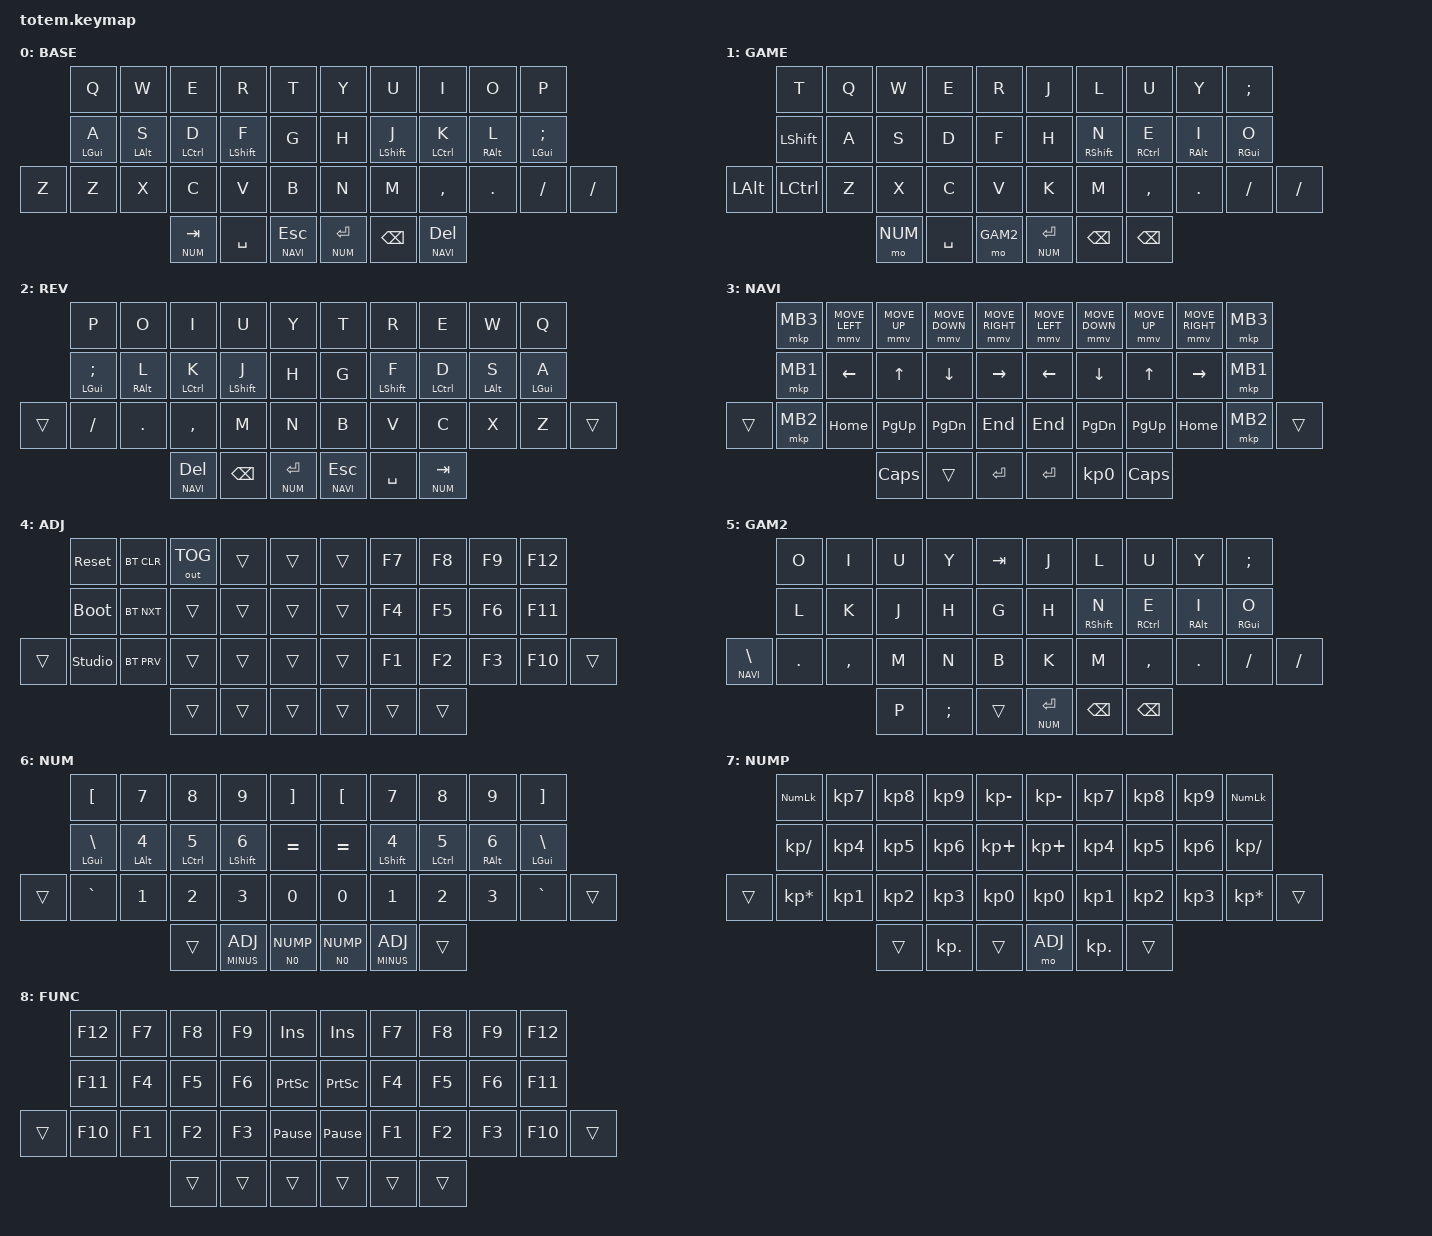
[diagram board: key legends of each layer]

#define ZMK_POINTING_DEFAULT_MOVE_VAL 2400  // default: 600
#define ZMK_POINTING_DEFAULT_SCRL_VAL 20    // default: 10       

#include <behaviors.dtsi>
#include <dt-bindings/zmk/keys.h>
#include <dt-bindings/zmk/bt.h>
#include <dt-bindings/zmk/outputs.h>
#include <dt-bindings/zmk/pointing.h>
//#include <dt-bindings/zmk/behaviors.h>


#define BASE 0
#define GAME 1
#define REV  2
#define NAVI 3
#define ADJ  4
#define GAM2 5
#define NUM  6
#define NUMP 7
#define FUNC 8

&mt {
  quick-tap-ms = <140>;
  global-quick-tap;
  flavor = "tap-preferred";
  tapping-term-ms = <170>;
};

/ {
    combos {
            compatible = "zmk,combos";
            //combo_esc {
            //    timeout-ms = <50>;
            //    key-positions = <0 1>;
            //    bindings = <&kp ESC>;
            //};
            combo_rshft {
                key-positions = <16 27>;
                bindings = <&sk RSHFT>;
                timeout-ms = <50>;
                layers = <0 2 3 4 6 7>;
            };
            combo_rctrl {
                key-positions = <17 28>;
                bindings = <&sk RCTRL>;
                timeout-ms = <50>;
                layers = <0 2 3 4 6 7>;
            };
            combo_ralt {
                key-positions = <18 29>;
                bindings = <&sk RALT>;
                timeout-ms = <50>;
                layers = <0 2 3 4 6 7>;
            };
            combo_rgui {
                key-positions = <19 30>;
                bindings = <&sk RGUI>;
                timeout-ms = <50>;
                layers = <0 2 3 4 6 7>;
            };
            combo_lshft {
                key-positions = <13 24>;
                bindings = <&sk LSHFT>;
                timeout-ms = <10>;
                layers = <0 2 3 4 6 7>;
            };
            combo_lctrl {
                key-positions = <12 23>;
                bindings = <&sk LCTRL>;
                timeout-ms = <10>;
                layers = <0 2 3 4 6 7>;
            };
            combo_lalt {
                key-positions = <11 22>;
                bindings = <&sk LALT>;
                timeout-ms = <10>;
                layers = <0 2 3 4 6 7>;
            };
            combo_lgui {
                key-positions = <10 21>;
                bindings = <&sk LGUI>;
                timeout-ms = <10>;
                layers = <0 2 3 4 6 7>;
            };
//            combo_ldqt {
//                key-positions = <11 12>;
//                bindings = <&kp DQT>;
//                timeout-ms = <25>;
//                layers = <0 4 6 7>;
//            };
//            combo_rapos {
//                key-positions = <17 18>;
//                bindings = <&kp APOS>;
//                timeout-ms = <25>;
//                layers = <0 4 6 7>;
//            };
//            combo_rdqt {
//                key-positions = <17 18>;
//                bindings = <&kp DQT>;
//		timeout-ms = <25>;
//                layers = <2>;
//            };
//            combo_lapos {
//                key-positions = <11 12>;
//                bindings = <&kp APOS>;
//                timeout-ms = <25>;
//                layers = <2>;
//            };
//            combo_lunder {
//                key-positions = <12 13>;
//                bindings = <&kp UNDER>;
//                timeout-ms = <25>;
//                layers = <0 4 6 7>;
//            };
//            combo_rminus {
//                key-positions = <16 17>;
//                bindings = <&kp MINUS>;
//                timeout-ms = <25>;
//                layers = <0 4 6 7>;
//            };
//            combo_runder {
//                key-positions = <16 17>;
//                bindings = <&kp UNDER>;
//		timeout-ms = <25>;
//                layers = <2>;
//            };
//            combo_lminus {
//                key-positions = <12 13>;
//                bindings = <&kp MINUS>;
//                timeout-ms = <25>;
//                layers = <2>;
//            };
            combo_lrbrc {
                key-positions = <1 2>;
                bindings = <&kp RBRC>;
                timeout-ms = <25>;
                layers = <2>;
            };
            combo_llbrc {
                key-positions = <1 2>;
                bindings = <&kp LBRC>;
                timeout-ms = <25>;
                layers = <0 4 6 7>;
            };
            combo_rlbrc {
                key-positions = <7 8>;
                bindings = <&kp LBRC>;
                timeout-ms = <25>;
                layers = <2>;
            };
            combo_rrbrc {
                key-positions = <7 8>;
                bindings = <&kp RBRC>;
                timeout-ms = <25>;
                layers = <0 4 6 7>;
            };
            combo_lrbkt {
                key-positions = <0 1>;
                bindings = <&kp RBKT>;
                timeout-ms = <25>;
                layers = <2>;
            };
            combo_llbkt {
                key-positions = <0 1>;
                bindings = <&kp LBKT>;
                timeout-ms = <25>;
                layers = <0 4 6 7>;
            };
            combo_rlbkt {
                key-positions = <8 9>;
                bindings = <&kp LBKT>;
                timeout-ms = <25>;
                layers = <2>;
            };
            combo_rrbkt {
                key-positions = <8 9>;
                bindings = <&kp RBKT>;
                timeout-ms = <25>;
                layers = <0 4 6 7>;
            };
            combo_lrpar {
                key-positions = <2 3>;
                bindings = <&kp RPAR>;
                timeout-ms = <25>;
                layers = <2>;
            };
            combo_llpar {
                key-positions = <2 3>;
                bindings = <&kp LPAR>;
                timeout-ms = <25>;
                layers = <0 4 6 7>;
            };
            combo_rlpar {
                key-positions = <6 7>;
                bindings = <&kp LPAR>;
                timeout-ms = <25>;
                layers = <2>;
            };
            combo_rrpar {
                key-positions = <6 7>;
                bindings = <&kp RPAR>;
                timeout-ms = <25>;
                layers = <0 4 6 7>;
            };
            combo_gam2esc {
                key-positions = <11 12 13>;
                bindings = <&kp ESC>;
                timeout-ms = <50>;
                layers = <5>;
            };
            combo_caps {
                key-positions = <22 23 24>;
                bindings = <&kp CAPS>;
                timeout-ms = <50>;
                layers = <0 4 6 7>;
            };
            combo_apos {
                key-positions = <27 28 29>;
                bindings = <&kp APOS>;
                timeout-ms = <50>;
                layers = <0 4 6 7>;
            };
            combo_capsrev {
                key-positions = <27 28 29>;
                bindings = <&kp CAPS>;
                timeout-ms = <50>;
                layers = <2>;
            };
            combo_aposrev {
                key-positions = <22 23 24>;
                bindings = <&kp APOS>;
                timeout-ms = <50>;
                layers = <2>;
            };
            combo_lscrldn {
                key-positions = <22 23 24>;
                bindings = <&msc SCRL_DOWN>;
                timeout-ms = <50>;
                layers = <3>;
            };
            combo_rscrldn {
                key-positions = <27 28 29>;
                bindings = <&msc SCRL_DOWN>;
                timeout-ms = <50>;
                layers = <3>;
            };
            combo_lscrlup {
                key-positions = <23 24 25>;
                bindings = <&msc SCRL_UP>;
                timeout-ms = <50>;
                layers = <3>;
            };
            combo_rscrlup {
                key-positions = <26 27 28>;
                bindings = <&msc SCRL_UP>;
                timeout-ms = <50>;
                layers = <3>;
            };
            combo_lfunclayer {
                key-positions = <32 33>;
                bindings = <&sl 8>;
                timeout-ms = <50>;
                layers = <0 2 3 4 6 7>;
            };
            combo_rfunclayer {
                key-positions = <36 37>;
                bindings = <&sl 8>;
                timeout-ms = <50>;
                layers = <0 2 3 4 6 7>;
            };
            combo_lrevlayer {
                key-positions = <33 34>;
                bindings = <&sl 2>;
                timeout-ms = <50>;
                layers = <0 3 4 6 7>;
            };
            combo_rrevlayer {
                key-positions = <35 36>;
                bindings = <&sl 2>;
                timeout-ms = <50>;
                layers = <0 3 4 6 7>;
            };
	    combo_gamealt {
		key-positions = <33 34>;
		bindings = <&kp LALT>;
		timeout-ms = <50>;
		layers = <1 5>;
	    };
    };

    macros {
        gif: gif {
            label = "giphy";
            compatible = "zmk,behavior-macro";
            #binding-cells = <0>;
            bindings
                = <&macro_press &kp LSHFT>
                , <&macro_tap &kp N2>
                , <&macro_release &kp LSHFT>
                , <&macro_tap &kp G &kp I &kp F>
                ;
        };
    };

        keymap {
                compatible = "zmk,keymap";
// ▄▄▄▄▄▄▄▄▄▄▄▄▄▄▄▄▄▄▄▄▄▄▄▄▄▄▄▄▄▄▄▄▄▄▄▄▄▄▄▄▄▄▄▄▄▄▄▄▄▄▄▄▄▄▄▄▄▄▄▄▄▄▄▄▄▄▄▄▄▄▄▄▄▄▄▄▄▄▄▄▄▄▄▄▄▄▄▄▄▄▄▄▄▄▄▄▄▄▄▄▄▄▄▄▄▄▄▄▄▄▄▄▄▄▄▄▄▄▄▄▄▄▄▄▄▄▄▄▄▄▄▄▄▄▄▄▄▄▄▄▄▄▄▄▄▄▄▄▄

                base_layer {
// ┏━━━━━━━━━━━━━━━━━━━━━━━━━━━━━━━━━━━━━━━┓
label= "BASE"                              ;
// ┗━━━━━━━━━━━━━━━━━━━━━━━━━━━━━━━━━━━━━━━┛
//             ┏━━━━━━━━━━━┳━━━━━━━━━━━┳━━━━━━━━━━━┳━━━━━━━━━━━┳━━━━━━━━━━━┓   ┏━━━━━━━━━━━┳━━━━━━━━━━━┳━━━━━━━━━━━┳━━━━━━━━━━━┳━━━━━━━━━━━┓
//             ┃     Q     ┃     W     ┃     F     ┃     P     ┃     G     ┃   ┃     J     ┃     L     ┃     U     ┃     Y     ┃     ;     ┃
//             ┣━━━━━━━━━━━╋━━━━━━━━━━━╋━━━━━━━━━━━╋━━━━━━━━━━━╋━━━━━━━━━━━┫   ┣━━━━━━━━━━━╋━━━━━━━━━━━╋━━━━━━━━━━━╋━━━━━━━━━━━╋━━━━━━━━━━━┫
//             ┃     A     ┃     R     ┃     S     ┃     T     ┃     D     ┃   ┃     H     ┃     N     ┃     E     ┃     I     ┃     O     ┃
// ┏━━━━━━━━━━━╋━━━━━━━━━━━╋━━━━━━━━━━━╋━━━━━━━━━━━╋━━━━━━━━━━━╋━━━━━━━━━━━┫   ┣━━━━━━━━━━━╋━━━━━━━━━━━╋━━━━━━━━━━━╋━━━━━━━━━━━╋━━━━━━━━━━━╋━━━━━━━━━━━┓
// ┃           ┃     Z     ┃     X     ┃     C     ┃     V     ┃     B     ┃   ┃     K     ┃     M     ┃     ,     ┃     .     ┃     /     ┃           ┃
// ┗━━━━━━━━━━━┻━━━━━━━━━━━┻━━━━━━━━━━━╋━━━━━━━━━━━╋━━━━━━━━━━━╋━━━━━━━━━━━┫   ┣━━━━━━━━━━━╋━━━━━━━━━━━╋━━━━━━━━━━━╋━━━━━━━━━━━┻━━━━━━━━━━━┻━━━━━━━━━━━┛
//                                     ┃           ┃    TAB    ┃    SPC    ┃   ┃   ENTER   ┃   BSPC    ┃           ┃
//                                     ┗━━━━━━━━━━━┻━━━━━━━━━━━┻━━━━━━━━━━━┛   ┗━━━━━━━━━━━┻━━━━━━━━━━━┻━━━━━━━━━━━┛
 bindings = <
// ╷           ╷           ╷           ╷           ╷           ╷           ╷   ╷           ╷           ╷           ╷           ╷           ╷           ╷

//                &kp Q       &kp W       &kp F       &kp P       &kp G           &kp J       &kp L       &kp U       &kp Y       &kp SEMI
//                &mt LGUI A  &mt LALT R  &mt LCTRL S &mt LSHFT T &kp D           &kp H       &mt RSHFT N &mt RCTRL E &mt RALT I  &mt RGUI O
//                &kp A  	    &kp R  	&kp S       &kp T       &kp D          	&kp H       &kp N 	&kp E 	    &kp I  	&kp O
//    &kp Z       &kp Z       &kp X       &kp C       &kp V       &kp B           &kp K       &kp M       &kp COMMA   &kp DOT     &kp FSLH    &kp FSLH
                &kp Q       &kp W       &kp E       &kp R       &kp T           &kp Y       &kp U       &kp I       &kp O       &kp P
//                &kp A  	    &kp S  	&kp D       &kp F       &kp G          	&kp H       &kp J 	&kp K 	    &kp L  	&kp SEMI
                &mt LGUI A    &mt LALT S &mt LCTRL D  &mt LSHFT F       &kp G   &kp H       &mt LSHFT J &mt LCTRL K &mt RALT L  &mt LGUI SEMI
    &kp Z       &kp Z       &kp X       &kp C       &kp V       &kp B           &kp N       &kp M       &kp COMMA   &kp DOT     &kp FSLH    &kp FSLH
                                        &lt NUM TAB &kp SPACE   &lt NAVI ESC    &lt NUM RET &kp BSPC    &lt NAVI DEL
                        >;
                };

// ▄▄▄▄▄▄▄▄▄▄▄▄▄▄▄▄▄▄▄▄▄▄▄▄▄▄▄▄▄▄▄▄▄▄▄▄▄▄▄▄▄▄▄▄▄▄▄▄▄▄▄▄▄▄▄▄▄▄▄▄▄▄▄▄▄▄▄▄▄▄▄▄▄▄▄▄▄▄▄▄▄▄▄▄▄▄▄▄▄▄▄▄▄▄▄▄▄▄▄▄▄▄▄▄▄▄▄▄▄▄▄▄▄▄▄▄▄▄▄▄▄▄▄▄▄▄▄▄▄▄▄▄▄▄▄▄▄▄▄▄▄▄▄▄▄▄▄▄▄

                game_layer {


// ┏━━━━━━━━━━━━━━━━━━━━━━━━━━━━━━━━━━━━━━━┓
label= "GAME"                              ;
// ┗━━━━━━━━━━━━━━━━━━━━━━━━━━━━━━━━━━━━━━━┛
//             ┏━━━━━━━━━━━┳━━━━━━━━━━━┳━━━━━━━━━━━┳━━━━━━━━━━━┳━━━━━━━━━━━┓   ┏━━━━━━━━━━━┳━━━━━━━━━━━┳━━━━━━━━━━━┳━━━━━━━━━━━┳━━━━━━━━━━━┓
//             ┃    TAB    ┃     q     ┃     w     ┃     e     ┃     r     ┃   ┃     t     ┃     y     ┃     u     ┃     i     ┃     o     ┃
//             ┣━━━━━━━━━━━╋━━━━━━━━━━━╋━━━━━━━━━━━╋━━━━━━━━━━━╋━━━━━━━━━━━┫   ┣━━━━━━━━━━━╋━━━━━━━━━━━╋━━━━━━━━━━━╋━━━━━━━━━━━╋━━━━━━━━━━━┫
//             ┃   LCTRL   ┃     a     ┃     S     ┃     d     ┃     f     ┃   ┃     g     ┃     h     ┃     n     ┃     k     ┃     l     ┃
// ┏━━━━━━━━━━━╋━━━━━━━━━━━╋━━━━━━━━━━━╋━━━━━━━━━━━╋━━━━━━━━━━━╋━━━━━━━━━━━┫   ┣━━━━━━━━━━━╋━━━━━━━━━━━╋━━━━━━━━━━━╋━━━━━━━━━━━╋━━━━━━━━━━━╋━━━━━━━━━━━┓
// ┃    ALT    ┃   SHIFT   ┃     z     ┃     x     ┃     c     ┃     v     ┃   ┃     b     ┃     n     ┃     m     ┃     ,     ┃     .     ┃      /    ┃
// ┗━━━━━━━━━━━┻━━━━━━━━━━━┻━━━━━━━━━━━╋━━━━━━━━━━━╋━━━━━━━━━━━╋━━━━━━━━━━━┫   ┣━━━━━━━━━━━╋━━━━━━━━━━━╋━━━━━━━━━━━╋━━━━━━━━━━━┻━━━━━━━━━━━┻━━━━━━━━━━━┛
//                                     ┃           ┃    SPC    ┃    SPC    ┃   ┃   ENTER   ┃   BSPC    ┃   ENTER   ┃
//                                     ┗━━━━━━━━━━━┻━━━━━━━━━━━┻━━━━━━━━━━━┛   ┗━━━━━━━━━━━┻━━━━━━━━━━━┻━━━━━━━━━━━┛
 bindings = <
// ╷           ╷           ╷           ╷           ╷           ╷           ╷   ╷           ╷           ╷           ╷           ╷           ╷           ╷

                &kp T     &kp Q       &kp W       &kp E       &kp R           &kp J       &kp L       &kp U       &kp Y       &kp SEMI
                &kp LSHFT &kp A       &kp S       &kp D       &kp F           &kp H       &mt RSHFT N &mt RCTRL E &mt RALT I  &mt RGUI O
    &kp LALT    &kp LCTRL &kp Z       &kp X       &kp C       &kp V           &kp K       &kp M       &kp COMMA   &kp DOT     &kp FSLH    &kp FSLH
                                        &mo NUM     &kp SPACE   &mo GAM2        &lt NUM RET &kp BSPC    &kp BSPC
                        >;
                };


// ▄▄▄▄▄▄▄▄▄▄▄▄▄▄▄▄▄▄▄▄▄▄▄▄▄▄▄▄▄▄▄▄▄▄▄▄▄▄▄▄▄▄▄▄▄▄▄▄▄▄▄▄▄▄▄▄▄▄▄▄▄▄▄▄▄▄▄▄▄▄▄▄▄▄▄▄▄▄▄▄▄▄▄▄▄▄▄▄▄▄▄▄▄▄▄▄▄▄▄▄▄▄▄▄▄▄▄▄▄▄▄▄▄▄▄▄▄▄▄▄▄▄▄▄▄▄▄▄▄▄▄▄▄▄▄▄▄▄▄▄▄▄▄▄▄▄▄▄▄

                reverse_layer {
// ┏━━━━━━━━━━━━━━━━━━━━━━━━━━━━━━━━━━━━━━━┓
label= "REV"                               ;
// ┗━━━━━━━━━━━━━━━━━━━━━━━━━━━━━━━━━━━━━━━┛
//             ┏━━━━━━━━━━━┳━━━━━━━━━━━┳━━━━━━━━━━━┳━━━━━━━━━━━┳━━━━━━━━━━━┓   ┏━━━━━━━━━━━┳━━━━━━━━━━━┳━━━━━━━━━━━┳━━━━━━━━━━━┳━━━━━━━━━━━┓
//             ┃    p      ┃     o     ┃     i      ┃     u    ┃      y        ┃     t     ┃     r     ┃     e     ┃     w     ┃     q     ┃
//             ┣━━━━━━━━━━━╋━━━━━━━━━━━╋━━━━━━━━━━━╋━━━━━━━━━━━╋━━━━━━━━━━━┫   ┣━━━━━━━━━━━╋━━━━━━━━━━━╋━━━━━━━━━━━╋━━━━━━━━━━━╋━━━━━━━━━━━┫
//             ┃   ;       ┃     l     ┃     k     ┃     j     ┃     h     ┃   ┃     g     ┃     f     ┃     d     ┃     s     ┃     a     ┃
// ┏━━━━━━━━━━━╋━━━━━━━━━━━╋━━━━━━━━━━━╋━━━━━━━━━━━╋━━━━━━━━━━━╋━━━━━━━━━━━┫   ┣━━━━━━━━━━━╋━━━━━━━━━━━╋━━━━━━━━━━━╋━━━━━━━━━━━╋━━━━━━━━━━━╋━━━━━━━━━━━┓
// ┃    ALT    ┃   /       ┃     .     ┃     ,     ┃     m     ┃     n     ┃   ┃     b     ┃     v     ┃     c     ┃     x     ┃     z     ┃      /    ┃
// ┗━━━━━━━━━━━┻━━━━━━━━━━━┻━━━━━━━━━━━╋━━━━━━━━━━━╋━━━━━━━━━━━╋━━━━━━━━━━━┫   ┣━━━━━━━━━━━╋━━━━━━━━━━━╋━━━━━━━━━━━╋━━━━━━━━━━━┻━━━━━━━━━━━┻━━━━━━━━━━━┛
//                                     ┃           ┃    SPC    ┃    SPC    ┃   ┃   ENTER   ┃   BSPC    ┃   ENTER   ┃
//                                     ┗━━━━━━━━━━━┻━━━━━━━━━━━┻━━━━━━━━━━━┛   ┗━━━━━━━━━━━┻━━━━━━━━━━━┻━━━━━━━━━━━┛
 bindings = <
// ╷           ╷           ╷           ╷           ╷           ╷           ╷   ╷           ╷           ╷           ╷           ╷           ╷           ╷

                &kp P    &kp O      &kp I    &kp U    &kp Y                     &kp T   &kp R    &kp E   &kp W     &kp Q
//                &kp SEMI &kp L      &kp K    &kp J    &kp H                  &kp G   &kp F    &kp D   &kp S     &kp A
                &mt LGUI SEMI &mt RALT L      &mt LCTRL K  &mt LSHFT J  &kp H   &kp G   &mt LSHFT F  &mt LCTRL D  &mt LALT S  &mt LGUI A
    &trans      &kp FSLH &kp DOT    &kp COMMA      &kp M      &kp N          &kp B &kp V &kp C &kp X  &kp Z   &trans         
                        &lt NAVI DEL      &kp BSPC      &lt NUM RET         &lt NAVI ESC      &kp SPACE    &lt NUM TAB      
                        >;
                };


// ▄▄▄▄▄▄▄▄▄▄▄▄▄▄▄▄▄▄▄▄▄▄▄▄▄▄▄▄▄▄▄▄▄▄▄▄▄▄▄▄▄▄▄▄▄▄▄▄▄▄▄▄▄▄▄▄▄▄▄▄▄▄▄▄▄▄▄▄▄▄▄▄▄▄▄▄▄▄▄▄▄▄▄▄▄▄▄▄▄▄▄▄▄▄▄▄▄▄▄▄▄▄▄▄▄▄▄▄▄▄▄▄▄▄▄▄▄▄▄▄▄▄▄▄▄▄▄▄▄▄▄▄▄▄▄▄▄▄▄▄▄▄▄▄▄▄▄▄▄


                nav_layer {
// ┏━━━━━━━━━━━━━━━━━━━━━━━━━━━━━━━━━━━━━━━┓
label= "NAVI"                              ;
// ┗━━━━━━━━━━━━━━━━━━━━━━━━━━━━━━━━━━━━━━━┛
//             ┏━━━━━━━━━━━┳━━━━━━━━━━━┳━━━━━━━━━━━┳━━━━━━━━━━━┳━━━━━━━━━━━┓   ┏━━━━━━━━━━━┳━━━━━━━━━━━┳━━━━━━━━━━━┳━━━━━━━━━━━┳━━━━━━━━━━━┓
//             ┃           ┃           ┃     UP    ┃           ┃     {     ┃   ┃     }     ┃     7     ┃     8     ┃     9     ┃     +     ┃
//             ┣━━━━━━━━━━━╋━━━━━━━━━━━╋━━━━━━━━━━━╋━━━━━━━━━━━╋━━━━━━━━━━━┫   ┣━━━━━━━━━━━╋━━━━━━━━━━━╋━━━━━━━━━━━╋━━━━━━━━━━━╋━━━━━━━━━━━┫
//             ┃   SHIFT   ┃   LEFT    ┃    DOWN   ┃   RIGHT   ┃     [     ┃   ┃     ]     ┃     4     ┃     5     ┃     6     ┃     -     ┃
// ┏━━━━━━━━━━━╋━━━━━━━━━━━╋━━━━━━━━━━━╋━━━━━━━━━━━╋━━━━━━━━━━━╋━━━━━━━━━━━┫   ┣━━━━━━━━━━━╋━━━━━━━━━━━╋━━━━━━━━━━━╋━━━━━━━━━━━╋━━━━━━━━━━━╋━━━━━━━━━━━┓
// ┃           ┃           ┃   P UP    ┃  C LOCK   ┃  P DOWN   ┃     (     ┃   ┃     )     ┃     1     ┃     2     ┃     3     ┃     *     ┃           ┃
// ┗━━━━━━━━━━━┻━━━━━━━━━━━┻━━━━━━━━━━━╋━━━━━━━━━━━╋━━━━━━━━━━━╋━━━━━━━━━━━┫   ┣━━━━━━━━━━━╋━━━━━━━━━━━╋━━━━━━━━━━━╋━━━━━━━━━━━┻━━━━━━━━━━━┻━━━━━━━━━━━┛
//                                     ┃           ┃    TAB    ┃    SPC    ┃   ┃    DEL    ┃     0     ┃           ┃
//                                     ┗━━━━━━━━━━━┻━━━━━━━━━━━┻━━━━━━━━━━━┛   ┗━━━━━━━━━━━┻━━━━━━━━━━━┻━━━━━━━━━━━┛
 bindings = <
// ╷           ╷           ╷           ╷           ╷           ╷           ╷   ╷           ╷           ╷           ╷           ╷           ╷           ╷

                &mkp MB3     &mmv MOVE_LEFT  &mmv MOVE_UP      &mmv MOVE_DOWN   &mmv MOVE_RIGHT        &mmv MOVE_LEFT &mmv MOVE_DOWN  &mmv MOVE_UP  &mmv MOVE_RIGHT &mkp MB3
                &mkp MB1   &kp LEFT    &kp UP    &kp DOWN   &kp RIGHT        &kp LEFT    &kp DOWN   &kp UP   &kp RIGHT   &mkp MB1
    &trans      &mkp MB2   &kp HOME   &kp PG_UP    &kp PG_DN   &kp END        &kp END    &kp PG_DN   &kp PG_UP   &kp HOME   &mkp MB2 &trans      
                                        &kp CAPS      &trans      &kp RET          &kp RET &kp KP_N0   &kp CAPS      
                        >;
                };

// ▄▄▄▄▄▄▄▄▄▄▄▄▄▄▄▄▄▄▄▄▄▄▄▄▄▄▄▄▄▄▄▄▄▄▄▄▄▄▄▄▄▄▄▄▄▄▄▄▄▄▄▄▄▄▄▄▄▄▄▄▄▄▄▄▄▄▄▄▄▄▄▄▄▄▄▄▄▄▄▄▄▄▄▄▄▄▄▄▄▄▄▄▄▄▄▄▄▄▄▄▄▄▄▄▄▄▄▄▄▄▄▄▄▄▄▄▄▄▄▄▄▄▄▄▄▄▄▄▄▄▄▄▄▄▄▄▄▄▄▄▄▄▄▄▄▄▄▄▄



                adjust_layer {
// ┏━━━━━━━━━━━━━━━━━━━━━━━━━━━━━━━━━━━━━━━┓
label= "ADJ"                               ;
// ┗━━━━━━━━━━━━━━━━━━━━━━━━━━━━━━━━━━━━━━━┛
//             ┏━━━━━━━━━━━┳━━━━━━━━━━━┳━━━━━━━━━━━┳━━━━━━━━━━━┳━━━━━━━━━━━┓   ┏━━━━━━━━━━━┳━━━━━━━━━━━┳━━━━━━━━━━━┳━━━━━━━━━━━┳━━━━━━━━━━━┓
//             ┃   RESET   ┃ BT CLEAR  ┃  OUT TOG  ┃           ┃           ┃   ┃           ┃    F7     ┃    F8     ┃    F9     ┃    F12    ┃
//             ┣━━━━━━━━━━━╋━━━━━━━━━━━╋━━━━━━━━━━━╋━━━━━━━━━━━╋━━━━━━━━━━━┫   ┣━━━━━━━━━━━╋━━━━━━━━━━━╋━━━━━━━━━━━╋━━━━━━━━━━━╋━━━━━━━━━━━┫
//             ┃ BOOTLOAD  ┃ BT NEXT   ┃           ┃           ┃           ┃   ┃           ┃    F4     ┃    F5     ┃    F6     ┃    F11    ┃
// ┏━━━━━━━━━━━╋━━━━━━━━━━━╋━━━━━━━━━━━╋━━━━━━━━━━━╋━━━━━━━━━━━╋━━━━━━━━━━━┫   ┣━━━━━━━━━━━╋━━━━━━━━━━━╋━━━━━━━━━━━╋━━━━━━━━━━━╋━━━━━━━━━━━╋━━━━━━━━━━━┓
// ┃           ┃           ┃ BT PREV   ┃           ┃           ┃           ┃   ┃           ┃    F1     ┃    F2     ┃    F3     ┃    F10    ┃           ┃
// ┗━━━━━━━━━━━┻━━━━━━━━━━━┻━━━━━━━━━━━╋━━━━━━━━━━━╋━━━━━━━━━━━╋━━━━━━━━━━━┫   ┣━━━━━━━━━━━╋━━━━━━━━━━━╋━━━━━━━━━━━╋━━━━━━━━━━━┻━━━━━━━━━━━┻━━━━━━━━━━━┛
//                                     ┃           ┃           ┃           ┃   ┃           ┃           ┃           ┃
//                                     ┗━━━━━━━━━━━┻━━━━━━━━━━━┻━━━━━━━━━━━┛   ┗━━━━━━━━━━━┻━━━━━━━━━━━┻━━━━━━━━━━━┛
 bindings = <
// ╷           ╷           ╷           ╷           ╷           ╷           ╷   ╷           ╷           ╷           ╷           ╷           ╷           ╷

                &sys_reset  &bt BT_CLR &out OUT_TOG &trans      &trans          &trans      &kp F7      &kp F8      &kp F9      &kp F12
                &bootloader &bt BT_NXT  &trans      &trans      &trans          &trans      &kp F4      &kp F5      &kp F6      &kp F11  
    &trans      &studio_unlock  &bt BT_PRV  &trans      &trans      &trans          &trans      &kp F1      &kp F2      &kp F3      &kp F10     &trans         
                                        &trans      &trans      &trans          &trans      &trans      &trans      
                        >;
                };



// ▄▄▄▄▄▄▄▄▄▄▄▄▄▄▄▄▄▄▄▄▄▄▄▄▄▄▄▄▄▄▄▄▄▄▄▄▄▄▄▄▄▄▄▄▄▄▄▄▄▄▄▄▄▄▄▄▄▄▄▄▄▄▄▄▄▄▄▄▄▄▄▄▄▄▄▄▄▄▄▄▄▄▄▄▄▄▄▄▄▄▄▄▄▄▄▄▄▄▄▄▄▄▄▄▄▄▄▄▄▄▄▄▄▄▄▄▄▄▄▄▄▄▄▄▄▄▄▄▄▄▄▄▄▄▄▄▄▄▄▄▄▄▄▄▄▄▄▄▄

                game2_layer {
// ┏━━━━━━━━━━━━━━━━━━━━━━━━━━━━━━━━━━━━━━━┓
label= "GAM2"                              ;
// ┗━━━━━━━━━━━━━━━━━━━━━━━━━━━━━━━━━━━━━━━┛
//             ┏━━━━━━━━━━━┳━━━━━━━━━━━┳━━━━━━━━━━━┳━━━━━━━━━━━┳━━━━━━━━━━━┓   ┏━━━━━━━━━━━┳━━━━━━━━━━━┳━━━━━━━━━━━┳━━━━━━━━━━━┳━━━━━━━━━━━┓
//             ┃     o     ┃     i     ┃     u     ┃     y     ┃     t     ┃   ┃     t     ┃     y     ┃     u     ┃     i     ┃     o     ┃
//             ┣━━━━━━━━━━━╋━━━━━━━━━━━╋━━━━━━━━━━━╋━━━━━━━━━━━╋━━━━━━━━━━━┫   ┣━━━━━━━━━━━╋━━━━━━━━━━━╋━━━━━━━━━━━╋━━━━━━━━━━━╋━━━━━━━━━━━┫
//             ┃     l     ┃     k     ┃     j     ┃     h     ┃     g     ┃   ┃     g     ┃     h     ┃     n     ┃     k     ┃     l     ┃
// ┏━━━━━━━━━━━╋━━━━━━━━━━━╋━━━━━━━━━━━╋━━━━━━━━━━━╋━━━━━━━━━━━╋━━━━━━━━━━━┫   ┣━━━━━━━━━━━╋━━━━━━━━━━━╋━━━━━━━━━━━╋━━━━━━━━━━━╋━━━━━━━━━━━╋━━━━━━━━━━━┓
// ┃      /    ┃    .      ┃     ,     ┃     m     ┃     n     ┃     b     ┃   ┃     b     ┃     n     ┃     m     ┃     ,     ┃     .     ┃      /    ┃
// ┗━━━━━━━━━━━┻━━━━━━━━━━━┻━━━━━━━━━━━╋━━━━━━━━━━━╋━━━━━━━━━━━╋━━━━━━━━━━━┫   ┣━━━━━━━━━━━╋━━━━━━━━━━━╋━━━━━━━━━━━╋━━━━━━━━━━━┻━━━━━━━━━━━┻━━━━━━━━━━━┛
//                                     ┃     p     ┃    ;      ┃           ┃   ┃   ENTER   ┃   BSPC    ┃   ENTER   ┃
//                                     ┗━━━━━━━━━━━┻━━━━━━━━━━━┻━━━━━━━━━━━┛   ┗━━━━━━━━━━━┻━━━━━━━━━━━┻━━━━━━━━━━━┛
 bindings = <
// ╷           ╷           ╷           ╷           ╷           ╷           ╷   ╷           ╷           ╷           ╷           ╷           ╷           ╷

                &kp O       &kp I       &kp U       &kp Y   &kp TAB            &kp J       &kp L       &kp U       &kp Y       &kp SEMI
                &kp L       &kp K       &kp J       &kp H   &kp G              &kp H       &mt RSHFT N &mt RCTRL E &mt RALT I  &mt RGUI O
  &lt NAVI BSLH &kp DOT     &kp COMMA   &kp M       &kp N   &kp B              &kp K       &kp M       &kp COMMA   &kp DOT     &kp FSLH    &kp FSLH
                                        &kp P       &kp SEMI    &trans          &lt NUM RET &kp BSPC    &kp BSPC
                        >;
                };

// ▄▄▄▄▄▄▄▄▄▄▄▄▄▄▄▄▄▄▄▄▄▄▄▄▄▄▄▄▄▄▄▄▄▄▄▄▄▄▄▄▄▄▄▄▄▄▄▄▄▄▄▄▄▄▄▄▄▄▄▄▄▄▄▄▄▄▄▄▄▄▄▄▄▄▄▄▄▄▄▄▄▄▄▄▄▄▄▄▄▄▄▄▄▄▄▄▄▄▄▄▄▄▄▄▄▄▄▄▄▄▄▄▄▄▄▄▄▄▄▄▄▄▄▄▄▄▄▄▄▄▄▄▄▄▄▄▄▄▄▄▄▄▄▄▄▄▄▄▄


                num_layer {
// ┏━━━━━━━━━━━━━━━━━━━━━━━━━━━━━━━━━━━━━━━┓
label= "NUM"                              ;
// ┗━━━━━━━━━━━━━━━━━━━━━━━━━━━━━━━━━━━━━━━┛
//             ┏━━━━━━━━━━━┳━━━━━━━━━━━┳━━━━━━━━━━━┳━━━━━━━━━━━┳━━━━━━━━━━━┓   ┏━━━━━━━━━━━┳━━━━━━━━━━━┳━━━━━━━━━━━┳━━━━━━━━━━━┳━━━━━━━━━━━┓
//             ┃           ┃           ┃     UP    ┃           ┃     {     ┃   ┃     }     ┃     7     ┃     8     ┃     9     ┃     +     ┃
//             ┣━━━━━━━━━━━╋━━━━━━━━━━━╋━━━━━━━━━━━╋━━━━━━━━━━━╋━━━━━━━━━━━┫   ┣━━━━━━━━━━━╋━━━━━━━━━━━╋━━━━━━━━━━━╋━━━━━━━━━━━╋━━━━━━━━━━━┫
//             ┃   SHIFT   ┃   LEFT    ┃    DOWN   ┃   RIGHT   ┃     [     ┃   ┃     ]     ┃     4     ┃     5     ┃     6     ┃     -     ┃
// ┏━━━━━━━━━━━╋━━━━━━━━━━━╋━━━━━━━━━━━╋━━━━━━━━━━━╋━━━━━━━━━━━╋━━━━━━━━━━━┫   ┣━━━━━━━━━━━╋━━━━━━━━━━━╋━━━━━━━━━━━╋━━━━━━━━━━━╋━━━━━━━━━━━╋━━━━━━━━━━━┓
// ┃           ┃           ┃   P UP    ┃  C LOCK   ┃  P DOWN   ┃     (     ┃   ┃     )     ┃     1     ┃     2     ┃     3     ┃     *     ┃           ┃
// ┗━━━━━━━━━━━┻━━━━━━━━━━━┻━━━━━━━━━━━╋━━━━━━━━━━━╋━━━━━━━━━━━╋━━━━━━━━━━━┫   ┣━━━━━━━━━━━╋━━━━━━━━━━━╋━━━━━━━━━━━╋━━━━━━━━━━━┻━━━━━━━━━━━┻━━━━━━━━━━━┛
//                                     ┃           ┃    TAB    ┃    SPC    ┃   ┃    DEL    ┃     0     ┃           ┃
//                                     ┗━━━━━━━━━━━┻━━━━━━━━━━━┻━━━━━━━━━━━┛   ┗━━━━━━━━━━━┻━━━━━━━━━━━┻━━━━━━━━━━━┛
 bindings = <
// ╷           ╷           ╷           ╷           ╷           ╷           ╷   ╷           ╷           ╷           ╷           ╷           ╷           ╷

                &kp LBKT    &kp N7   &kp N8   &kp N9   &kp RBKT        &kp LBKT    &kp N7   &kp N8   &kp N9   &kp RBKT
//                &kp BSLH   &kp N4   &kp N5   &kp N6   &kp EQUAL       &kp EQUAL   &kp N4   &kp N5   &kp N6   &kp BSLH
                &mt LGUI BSLH   &mt LALT N4   &mt LCTRL N5   &mt LSHFT N6   &kp EQUAL       &kp EQUAL   &mt LSHFT N4  &mt LCTRL N5 &mt RALT N6  &mt LGUI BSLH
    &trans      &kp GRAVE    &kp N1   &kp N2   &kp N3   &kp N0          &kp N0      &kp N1   &kp N2   &kp N3   &kp GRAVE  &trans      
                                     &trans   &lt MINUS ADJ  &lt N0 NUMP  &lt N0 NUMP    &lt MINUS ADJ     &trans      
                        >;
                };

// ▄▄▄▄▄▄▄▄▄▄▄▄▄▄▄▄▄▄▄▄▄▄▄▄▄▄▄▄▄▄▄▄▄▄▄▄▄▄▄▄▄▄▄▄▄▄▄▄▄▄▄▄▄▄▄▄▄▄▄▄▄▄▄▄▄▄▄▄▄▄▄▄▄▄▄▄▄▄▄▄▄▄▄▄▄▄▄▄▄▄▄▄▄▄▄▄▄▄▄▄▄▄▄▄▄▄▄▄▄▄▄▄▄▄▄▄▄▄▄▄▄▄▄▄▄▄▄▄▄▄▄▄▄▄▄▄▄▄▄▄▄▄▄▄▄▄▄▄▄


                numpad_layer {
// ┏━━━━━━━━━━━━━━━━━━━━━━━━━━━━━━━━━━━━━━━┓
label= "NUMP"                              ;
// ┗━━━━━━━━━━━━━━━━━━━━━━━━━━━━━━━━━━━━━━━┛
//             ┏━━━━━━━━━━━┳━━━━━━━━━━━┳━━━━━━━━━━━┳━━━━━━━━━━━┳━━━━━━━━━━━┓   ┏━━━━━━━━━━━┳━━━━━━━━━━━┳━━━━━━━━━━━┳━━━━━━━━━━━┳━━━━━━━━━━━┓
//             ┃           ┃           ┃     UP    ┃           ┃     {     ┃   ┃     }     ┃     7     ┃     8     ┃     9     ┃     +     ┃
//             ┣━━━━━━━━━━━╋━━━━━━━━━━━╋━━━━━━━━━━━╋━━━━━━━━━━━╋━━━━━━━━━━━┫   ┣━━━━━━━━━━━╋━━━━━━━━━━━╋━━━━━━━━━━━╋━━━━━━━━━━━╋━━━━━━━━━━━┫
//             ┃   SHIFT   ┃   LEFT    ┃    DOWN   ┃   RIGHT   ┃     [     ┃   ┃     ]     ┃     4     ┃     5     ┃     6     ┃     -     ┃
// ┏━━━━━━━━━━━╋━━━━━━━━━━━╋━━━━━━━━━━━╋━━━━━━━━━━━╋━━━━━━━━━━━╋━━━━━━━━━━━┫   ┣━━━━━━━━━━━╋━━━━━━━━━━━╋━━━━━━━━━━━╋━━━━━━━━━━━╋━━━━━━━━━━━╋━━━━━━━━━━━┓
// ┃           ┃           ┃   P UP    ┃  C LOCK   ┃  P DOWN   ┃     (     ┃   ┃     )     ┃     1     ┃     2     ┃     3     ┃     *     ┃           ┃
// ┗━━━━━━━━━━━┻━━━━━━━━━━━┻━━━━━━━━━━━╋━━━━━━━━━━━╋━━━━━━━━━━━╋━━━━━━━━━━━┫   ┣━━━━━━━━━━━╋━━━━━━━━━━━╋━━━━━━━━━━━╋━━━━━━━━━━━┻━━━━━━━━━━━┻━━━━━━━━━━━┛
//                                     ┃           ┃    TAB    ┃    SPC    ┃   ┃    DEL    ┃     0     ┃           ┃
//                                     ┗━━━━━━━━━━━┻━━━━━━━━━━━┻━━━━━━━━━━━┛   ┗━━━━━━━━━━━┻━━━━━━━━━━━┻━━━━━━━━━━━┛
 bindings = <
// ╷           ╷           ╷           ╷           ╷           ╷           ╷   ╷           ╷           ╷           ╷           ╷           ╷           ╷

                &kp KP_NUM   &kp KP_N7   &kp KP_N8   &kp KP_N9   &kp KP_MINUS         &kp KP_MINUS &kp KP_N7   &kp KP_N8   &kp KP_N9   &kp KP_NUM   
                &kp KP_SLASH &kp KP_N4   &kp KP_N5   &kp KP_N6   &kp KP_PLUS          &kp KP_PLUS  &kp KP_N4   &kp KP_N5   &kp KP_N6   &kp KP_SLASH 
    &trans      &kp KP_MULTIPLY  &kp KP_N1   &kp KP_N2   &kp KP_N3   &kp KP_N0        &kp KP_N0    &kp KP_N1   &kp KP_N2   &kp KP_N3   &kp KP_MULTIPLY &trans      
                                        &trans      &kp KP_DOT      &trans          &mo ADJ     &kp KP_DOT   &trans      
                        >;
                };

// ▄▄▄▄▄▄▄▄▄▄▄▄▄▄▄▄▄▄▄▄▄▄▄▄▄▄▄▄▄▄▄▄▄▄▄▄▄▄▄▄▄▄▄▄▄▄▄▄▄▄▄▄▄▄▄▄▄▄▄▄▄▄▄▄▄▄▄▄▄▄▄▄▄▄▄▄▄▄▄▄▄▄▄▄▄▄▄▄▄▄▄▄▄▄▄▄▄▄▄▄▄▄▄▄▄▄▄▄▄▄▄▄▄▄▄▄▄▄▄▄▄▄▄▄▄▄▄▄▄▄▄▄▄▄▄▄▄▄▄▄▄▄▄▄▄▄▄▄▄


                func_layer {
// ┏━━━━━━━━━━━━━━━━━━━━━━━━━━━━━━━━━━━━━━━┓
label= "FUNC"                              ;
// ┗━━━━━━━━━━━━━━━━━━━━━━━━━━━━━━━━━━━━━━━┛
//             ┏━━━━━━━━━━━┳━━━━━━━━━━━┳━━━━━━━━━━━┳━━━━━━━━━━━┳━━━━━━━━━━━┓   ┏━━━━━━━━━━━┳━━━━━━━━━━━┳━━━━━━━━━━━┳━━━━━━━━━━━┳━━━━━━━━━━━┓
//             ┃   RESET   ┃ BT CLEAR  ┃  OUT TOG  ┃           ┃           ┃   ┃           ┃    F7     ┃    F8     ┃    F9     ┃    F12    ┃
//             ┣━━━━━━━━━━━╋━━━━━━━━━━━╋━━━━━━━━━━━╋━━━━━━━━━━━╋━━━━━━━━━━━┫   ┣━━━━━━━━━━━╋━━━━━━━━━━━╋━━━━━━━━━━━╋━━━━━━━━━━━╋━━━━━━━━━━━┫
//             ┃ BOOTLOAD  ┃ BT NEXT   ┃           ┃           ┃           ┃   ┃           ┃    F4     ┃    F5     ┃    F6     ┃    F11    ┃
// ┏━━━━━━━━━━━╋━━━━━━━━━━━╋━━━━━━━━━━━╋━━━━━━━━━━━╋━━━━━━━━━━━╋━━━━━━━━━━━┫   ┣━━━━━━━━━━━╋━━━━━━━━━━━╋━━━━━━━━━━━╋━━━━━━━━━━━╋━━━━━━━━━━━╋━━━━━━━━━━━┓
// ┃           ┃           ┃ BT PREV   ┃           ┃           ┃           ┃   ┃           ┃    F1     ┃    F2     ┃    F3     ┃    F10    ┃           ┃
// ┗━━━━━━━━━━━┻━━━━━━━━━━━┻━━━━━━━━━━━╋━━━━━━━━━━━╋━━━━━━━━━━━╋━━━━━━━━━━━┫   ┣━━━━━━━━━━━╋━━━━━━━━━━━╋━━━━━━━━━━━╋━━━━━━━━━━━┻━━━━━━━━━━━┻━━━━━━━━━━━┛
//                                     ┃           ┃           ┃           ┃   ┃           ┃           ┃           ┃
//                                     ┗━━━━━━━━━━━┻━━━━━━━━━━━┻━━━━━━━━━━━┛   ┗━━━━━━━━━━━┻━━━━━━━━━━━┻━━━━━━━━━━━┛
 bindings = <
// ╷           ╷           ╷           ╷           ╷           ╷           ╷   ╷           ╷           ╷           ╷           ╷           ╷           ╷

                &kp F12     &kp F7      &kp F8      &kp F9      &kp INS      &kp INS      &kp F7      &kp F8      &kp F9      &kp F12
                &kp F11     &kp F4      &kp F5      &kp F6      &kp PSCRN    &kp PSCRN      &kp F4      &kp F5      &kp F6      &kp F11  
    &trans      &kp F10     &kp F1      &kp F2      &kp F3      &kp PAUSE_BREAK      &kp PAUSE_BREAK      &kp F1      &kp F2      &kp F3      &kp F10     &trans         
                                        &trans      &trans      &trans          &trans      &trans      &trans      
                        >;
                };

        };
};
